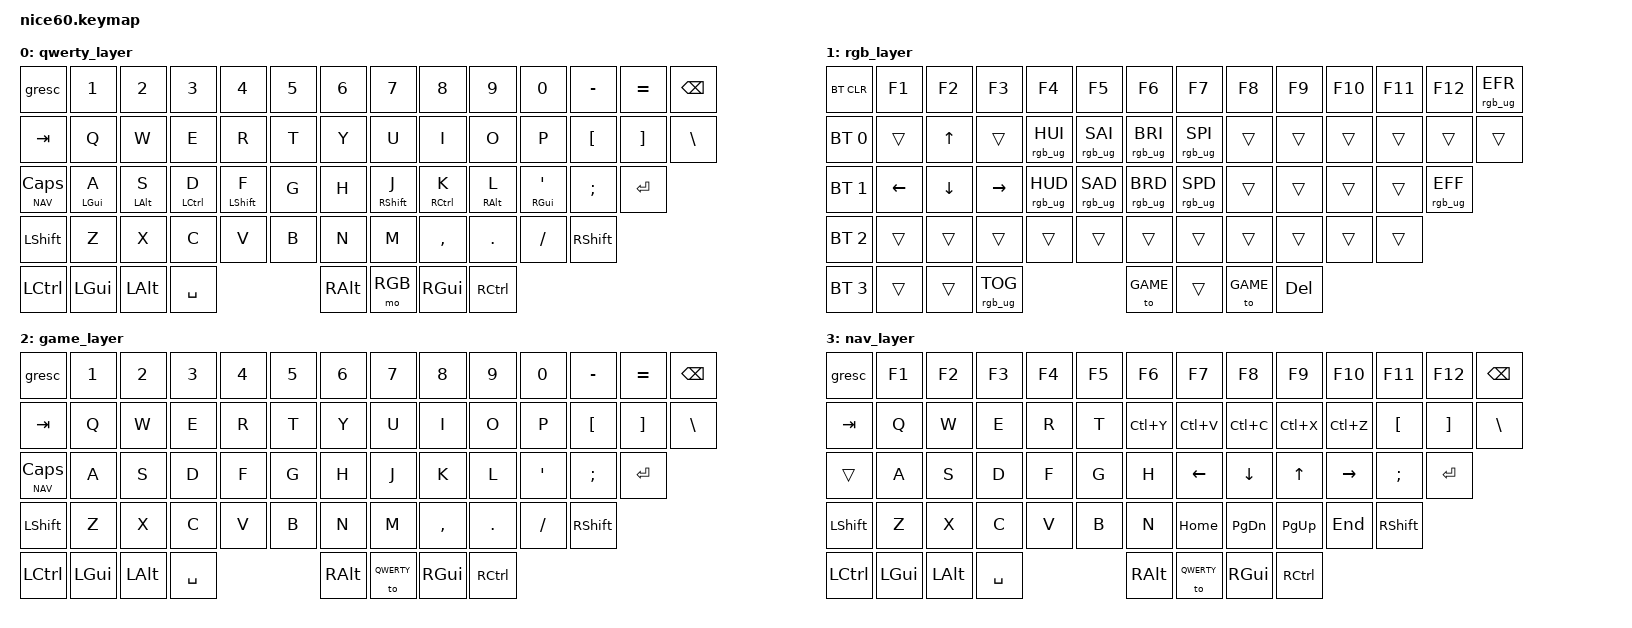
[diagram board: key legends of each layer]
/*
 * Copyright (c) 2021 Nick Winans
 *
 * SPDX-License-Identifier: MIT
 */

#include <behaviors.dtsi>
#include <dt-bindings/zmk/keys.h>
#include <dt-bindings/zmk/rgb.h>
#include <dt-bindings/zmk/bt.h>
#include <dt-bindings/zmk/outputs.h>
#include <dt-bindings/zmk/reset.h>
#include <dt-bindings/zmk/ext_power.h>

#define QWERTY  0
#define RGB     1
#define GAME    2
#define NAV     3

/ {
	behaviors {
		hm: homerow_mods {
		    compatible = "zmk,behavior-hold-tap";
		    label = "HOMEROW_MODS";
		    #binding-cells = <2>;
		    tapping-term-ms = <200>;
		    quick_tap_ms = <0>;
		    flavor = "tap-preferred";
		    bindings = <&kp>, <&kp>;
		};
	};
	
	keymap {
		compatible = "zmk,keymap";
		
		qwerty_layer {
// ------------------------------------------------------------------------------------------
// | ESC |  1  |  2  |  3  |  4  |  5  |  6  |  7  |  8  |  9  |  0  |  -  |  =  |   BKSP   |
// | TAB  |  Q  |  W  |  E  |  R  |  T  |  Y  |  U  |  I  |  O  |  P  |  [  |  ]  |   "|"   |
// | CAPS  |  A  |  S  |  D  |  F  |  G  |  H  |  J  |  K  |  L  |  '  |  ;  |     ENTER    |
// |  SHIFT  |  Z  |  X  |  C  |  V  |  B  |  N  |  M  |  ,  |  .  |  /  |      SHIFT       |
// |  CTL  |  WIN  |  ALT  |            SPACE              |  ALT  |  MO(1) |  WIN  |  CTL  |
// ------------------------------------------------------------------------------------------
			bindings = <
	&gresc        &kp N1      &kp N2      &kp N3       &kp N4        &kp N5  &kp N6  &kp N7        &kp N8       &kp N9      &kp N0        &kp MINUS  &kp EQUAL  &kp BSPC
	&kp TAB       &kp Q       &kp W       &kp E        &kp R         &kp T   &kp Y   &kp U         &kp I        &kp O       &kp P         &kp LBKT   &kp RBKT   &kp BSLH
	&lt NAV CLCK  &hm LGUI A  &hm LALT S  &hm LCTRL D  &hm LSHIFT F  &kp G   &kp H   &hm RSHIFT J  &hm RCTRL K  &hm RALT L  &hm RGUI SQT  &kp SEMI   &kp RET
	&kp LSHFT     &kp Z       &kp X       &kp C        &kp V         &kp B   &kp N   &kp M         &kp COMMA    &kp DOT     &kp FSLH           &kp RSHFT
	&kp LCTRL     &kp LGUI    &kp LALT             &kp SPACE                     &kp RALT &mo RGB  &kp RGUI &kp RCTRL
			>;
		};

		rgb_layer {
// ------------------------------------------------------------------------------------------------
// | BT CLR | F1  | F2  | F3  | F4  | F5  | F6  | F7  | F8  | F9  | F10  | F11 | F12 | EFFECT REV |
// |  BT 1   |   |  UP |   | HUEUP | SATUP | BRIUP | SPDUP |   |     |    |     |     |           |
// |   BT 2   | LT |  DN  | RT | HUEDN | SATDN | BRIDN | SPDDN |   |     |   |     |  EFFECT FORW |
// |    BT 3     |     |      |      |     |     |     |     |     |     |     |                  |
// |   BT 4  |      |      |             TOG RGB                | PRT SCR |      | TO(1) |  DEL  |
// ------------------------------------------------------------------------------------------------
			bindings = <
	&bt BT_CLR   &kp F1    &kp F2    &kp F3  &kp F4           &kp F5          &kp F6          &kp F7          &kp F8   &kp F9   &kp F10  &kp F11 &kp F12  &rgb_ug RGB_EFR
	&bt BT_SEL 0  &trans    &kp UP    &trans  &rgb_ug RGB_HUI  &rgb_ug RGB_SAI &rgb_ug RGB_BRI &rgb_ug RGB_SPI  &trans   &trans   &trans   &trans  &trans          &trans 
	&bt BT_SEL 1   &kp LEFT  &kp DOWN  &kp RIGHT &rgb_ug RGB_HUD &rgb_ug RGB_SAD &rgb_ug RGB_BRD &rgb_ug RGB_SPD &trans   &trans   &trans   &trans        &rgb_ug RGB_EFF
	&bt BT_SEL 2    &trans    &trans    &trans   &trans          &trans          &trans          &trans          &trans   &trans   &trans                          &trans
	&bt BT_SEL 3  &trans   &trans                            &rgb_ug RGB_TOG                                      &to GAME       &trans      &to GAME             &kp DEL
			>;
		};

		game_layer {
// ------------------------------------------------------------------------------------------
// | ESC |  1  |  2  |  3  |  4  |  5  |  6  |  7  |  8  |  9  |  0  |  -  |  =  |   BKSP   |
// | TAB  |  Q  |  W  |  E  |  R  |  T  |  Y  |  U  |  I  |  O  |  P  |  [  |  ]  |   "|"   |
// | CAPS  |  A  |  S  |  D  |  F  |  G  |  H  |  J  |  K  |  L  |  '  |  ;  |     ENTER    |
// |  SHIFT  |  Z  |  X  |  C  |  V  |  B  |  N  |  M  |  ,  |  .  |  /  |      SHIFT       |
// |  CTL  |  WIN  |  ALT  |            SPACE              |  ALT  |  TO(0) |  WIN  |  CTL  |
// ------------------------------------------------------------------------------------------
			bindings = <
	&gresc  &kp N1 &kp N2 &kp N3 &kp N4 &kp N5 &kp N6 &kp N7 &kp N8 &kp N9 &kp N0 &kp MINUS &kp EQUAL  &kp BSPC
	&kp TAB  &kp Q  &kp W  &kp E  &kp R  &kp T  &kp Y  &kp U  &kp I  &kp O  &kp P  &kp LBKT  &kp RBKT  &kp BSLH
	&lt NAV CLCK &kp A  &kp S  &kp D  &kp F  &kp G  &kp H  &kp J  &kp K  &kp L  &kp SQT &kp SEMI           &kp RET
	&kp LSHFT   &kp Z  &kp X  &kp C  &kp V  &kp B  &kp N  &kp M  &kp COMMA &kp DOT &kp FSLH           &kp RSHFT
	&kp LCTRL  &kp LGUI    &kp LALT             &kp SPACE                     &kp RALT &to QWERTY  &kp RGUI &kp RCTRL
			>;
		};

		nav_layer {
// ------------------------------------------------------------------------------------------
// | ESC | F1  | F2  | F3  | F4  | F5  | F6  | F7  | F8  | F9  | F10  | F11 | F12 |  BKSP   |
// | TAB  |  Q  |  W  |  E  |  R  |  T  | RDO | PASTE | COPY | CUT | UDO | [ | ]  |   "|"   |
// |       |  A  |  S  |  D  |  F  |  G  |  H  |  LT |  DN |  UP |  RT |  ;  |     ENTER    |
// |  SHIFT  |  Z  |  X  |  C  |  V  |  B  |  N  | HOME | PG_DN | PG_UP | END |   SHIFT     |
// |  CTL  |  WIN  |  ALT  |            SPACE              |  ALT  |  TO(0) |  WIN  |  CTL  |
// ------------------------------------------------------------------------------------------
			bindings = <
	&gresc  &kp F1  &kp F2 &kp F3  &kp F4  &kp F5  &kp F6  &kp F7  &kp F8  &kp F9  &kp F10  &kp F11 &kp F12  &kp BSPC
	&kp TAB  &kp Q  &kp W  &kp E  &kp R  &kp T  &kp LC(Y)  &kp LC(V)  &kp LC(C)  &kp LC(X)  &kp LC(Z)  &kp LBKT  &kp RBKT  &kp BSLH
	&trans   &kp A  &kp S  &kp D  &kp F  &kp G  &kp H  &kp LEFT  &kp DOWN  &kp UP  &kp RIGHT &kp SEMI           &kp RET
	&kp LSHFT   &kp Z  &kp X  &kp C  &kp V  &kp B  &kp N  &kp HOME  &kp PG_DN &kp PG_UP &kp END           &kp RSHFT
	&kp LCTRL  &kp LGUI    &kp LALT             &kp SPACE                     &kp RALT &to QWERTY  &kp RGUI &kp RCTRL
			>;
		};

	};
};
